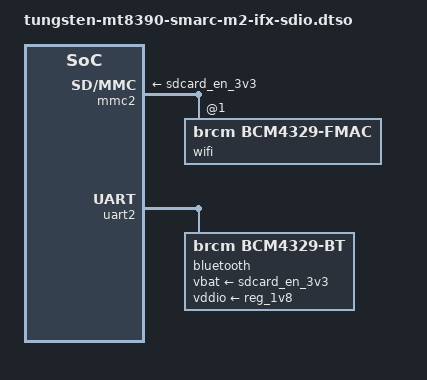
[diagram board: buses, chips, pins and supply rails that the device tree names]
// SPDX-License-Identifier: (GPL-2.0+ OR MIT)
/*
 * SDIO LWBxx & IFxxx module
 */

/dts-v1/;
/plugin/;

&sdcard_en_3v3 {
	startup-delay-us = <250000>;
	off-on-delay-us = <100>;
};

&mmc2 {
	status = "okay";
	vmmc-supply = <&sdcard_en_3v3>;
	#address-cells = <1>;
	#size-cells = <0>;

	wifi@1 {
		reg = <1>;
		compatible = "brcm,bcm4329-fmac";
	};
};

&uart2 {
	status = "okay";

	bluetooth {
		compatible = "brcm,bcm4329-bt";
		vbat-supply = <&sdcard_en_3v3>;
		vddio-supply = <&reg_1v8>;
		brcm,requires-autobaud-mode;
		max-speed = <3000000>;
	};
};
